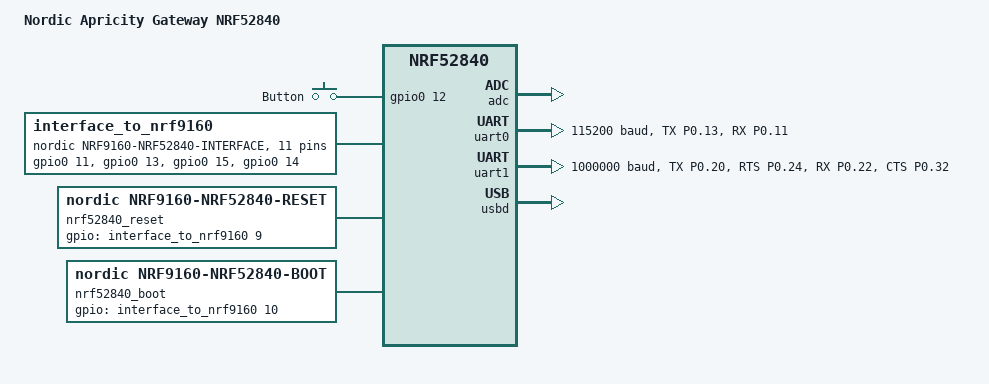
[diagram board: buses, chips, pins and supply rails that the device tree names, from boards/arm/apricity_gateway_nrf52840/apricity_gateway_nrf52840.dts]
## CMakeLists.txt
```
#
# Copyright (c) 2018 Nordic Semiconductor
#
# SPDX-License-Identifier: LicenseRef-BSD-5-Clause-Nordic
#

cmake_minimum_required(VERSION 3.13.1)

#list(APPEND mcuboot_OVERLAY_CONFIG
#  "${CMAKE_CURRENT_SOURCE_DIR}/mcuboot_overlay-rsa.conf"
#  )
#
#set(mcuboot_CONF_FILE ${CMAKE_CURRENT_LIST_DIR}/mcuboot.conf)

##set(mcuboot_DTC_OVERLAY_FILE ${CMAKE_CURRENT_LIST_DIR}/apricity_gateway_nrf52840.overlay)

set(BOARD_ROOT ${CMAKE_CURRENT_LIST_DIR})
find_package(Zephyr REQUIRED HINTS $ENV{ZEPHYR_BASE})
project(lte-gateway-ble)

target_sources(app PRIVATE src/main.c)
target_sources(app PRIVATE src/usb_uart_bridge.c)
zephyr_include_directories(src)
```

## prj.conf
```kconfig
#General
CONFIG_REBOOT=y
CONFIG_HEAP_MEM_POOL_SIZE=16384
CONFIG_GPIO=y
CONFIG_POLL=y
CONFIG_BOOTLOADER_MCUBOOT=y

 # USB
#CONFIG_USB=y
CONFIG_USB_DEVICE_STACK=y
CONFIG_USB_DEVICE_MANUFACTURER="Apricity"
CONFIG_USB_DEVICE_PRODUCT="Apricity Gateway"
CONFIG_USB_DEVICE_VID=0x1915
CONFIG_USB_DEVICE_PID=0x520F
CONFIG_USB_DEVICE_SN="PCA20035 12PLACEHLDRS"
CONFIG_USB_COMPOSITE_DEVICE=y
CONFIG_USB_CDC_ACM=y
CONFIG_USB_CDC_ACM_RINGBUF_SIZE=4096
#CONFIG_USB_CDC_ACM_DEVICE_COUNT=2
CONFIG_USB_CDC_ACM_LOG_LEVEL_INF=y

# Logging
CONFIG_LOG=y
CONFIG_LOG_MODE_IMMEDIATE=n
CONFIG_LOG_BACKEND_FORMAT_TIMESTAMP=n
CONFIG_LOG_DEFAULT_LEVEL=3
CONFIG_LTE_GATEWAY_BLE_LOG_LEVEL_INF=y
CONFIG_USE_SEGGER_RTT=y
CONFIG_SHELL_BACKEND_RTT=n
CONFIG_CONSOLE=y
CONFIG_RTT_CONSOLE=y
CONFIG_LOG_BACKEND_RTT=y
CONFIG_LOG_BACKEND_RTT_MODE_DROP=y
CONFIG_LOG_BACKEND_UART=n
CONFIG_SEGGER_RTT_BUFFER_SIZE_UP=512
CONFIG_LOG_PRINTK=y
#CONFIG_LOG_PRINTK_MAX_STRING_LENGTH=256
CONFIG_LOG_BUFFER_SIZE=4096
#CONFIG_LOG_BACKEND_RTT_MESSAGE_SIZE=256
CONFIG_LOG_BACKEND_RTT_OUTPUT_BUFFER_SIZE=256

 # UART
CONFIG_SERIAL=y
CONFIG_UART_INTERRUPT_DRIVEN=y
CONFIG_UART_LINE_CTRL=y
CONFIG_UART_ASYNC_API=n

#BT
CONFIG_BT=y
CONFIG_BT_WAIT_NOP=y
CONFIG_BT_HCI_RAW=y
CONFIG_BT_HCI_RAW_H4=y
CONFIG_BT_HCI_RAW_H4_ENABLE=y
CONFIG_BT_BUF_ACL_RX_SIZE=255
CONFIG_BT_BUF_CMD_TX_SIZE=255
CONFIG_BT_BUF_EVT_DISCARDABLE_SIZE=255
CONFIG_BT_MAX_CONN=16
CONFIG_BT_TINYCRYPT_ECC=y
CONFIG_BT_CTLR_ASSERT_HANDLER=y
CONFIG_BT_HCI_TX_STACK_SIZE=2048
CONFIG_BT_HCI_TX_STACK_SIZE_WITH_PROMPT=y
CONFIG_BT_EXT_ADV=y
CONFIG_BT_BUF_CMD_TX_COUNT=10

CONFIG_BT_DEBUG_LOG=y
CONFIG_BT_DEBUG_CONN=y
CONFIG_BT_DEBUG_HCI_CORE=y
CONFIG_BT_DEBUG_HCI_DRIVER=y
CONFIG_BT_LOG_LEVEL_DBG=y
CONFIG_BT_HCI_CORE_LOG_LEVEL_DBG=y
CONFIG_BT_HCI_DRIVER_LOG_LEVEL_DBG=y
CONFIG_BT_HCI_VS_EXT=y
CONFIG_BT_HCI_VS=y
CONFIG_BT_REMOTE_VERSION=y

CONFIG_BT_LL_SOFTDEVICE=y
CONFIG_BT_LL_SW_SPLIT=y

#Reset pin
CONFIG_BOARD_APRICITY_GATEWAY_NRF52840_RESET=y
CONFIG_BOOTLOADER_MCUBOOT=y

# TODO: get this to work
#CONFIG_MCUBOOT_SERIAL=y
#CONFIG_BOOT_SERIAL_DETECT_PORT=0
#CONFIG_BOOT_SERIAL_DETECT_PIN=12

CONFIG_GPIO=y
CONFIG_MAIN_STACK_SIZE=3072
CONFIG_SYSTEM_WORKQUEUE_STACK_SIZE=3072

CONFIG_CLOCK_CONTROL_NRF_K32SRC_20PPM=y
```

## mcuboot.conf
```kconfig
# Note: much of this came from:
# bootloader/mcuboot/boot/zephyr/boards/thingy91_nrf52840.conf

# Disable Zephyr console
CONFIG_LOG=n
CONFIG_CONSOLE=n
CONFIG_CONSOLE_HANDLER=n
CONFIG_UART_CONSOLE=n

# The build won't fit on the partition allocated for it without size
# optimizations.
CONFIG_SIZE_OPTIMIZATIONS=y
CONFIG_PM_PARTITION_SIZE_MCUBOOT=0x12000

#Reset pin
CONFIG_BOARD_APRICITY_GATEWAY_NRF52840_RESET=y

# Serial
CONFIG_SERIAL=y
CONFIG_UART_NRFX=y
CONFIG_UART_INTERRUPT_DRIVEN=y
CONFIG_UART_LINE_CTRL=y

# MCUboot serial recovery
CONFIG_GPIO=y
CONFIG_MCUBOOT_SERIAL=y
CONFIG_BOOT_SERIAL_CDC_ACM=y
#CONFIG_BOOT_SERIAL_DETECT_PORT="GPIO_0"
#CONFIG_BOOT_SERIAL_DETECT_PIN=12
#CONFIG_BOOT_SERIAL_DETECT_PIN_VAL=0

# Required by USB
CONFIG_MULTITHREADING=y

# USB
#CONFIG_USB=y
CONFIG_USB_DEVICE_STACK=y
CONFIG_USB_DEVICE_PRODUCT="MCUBOOT"
CONFIG_USB_CDC_ACM=y
CONFIG_USB_COMPOSITE_DEVICE=y
CONFIG_USB_MASS_STORAGE=n
CONFIG_USB_DEVICE_MANUFACTURER="Nordic Semiconductor"
CONFIG_USB_DEVICE_VID=0x1915
CONFIG_USB_DEVICE_PID=0x520F

CONFIG_REBOOT=y
CONFIG_FLASH=y
CONFIG_MAIN_STACK_SIZE=10240
CONFIG_PARTITION_MANAGER_ENABLED=y
CONFIG_FPROTECT=y
CONFIG_HW_STACK_PROTECTION=y
```

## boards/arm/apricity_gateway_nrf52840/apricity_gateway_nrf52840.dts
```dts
/*
 * Copyright (c) 2020 Nordic Semiconductor ASA
 *
 * SPDX-License-Identifier: LicenseRef-BSD-5-Clause-Nordic
 */

/dts-v1/;
#include <nordic/nrf52840_qiaa.dtsi>

/ {
	model = "Nordic Apricity Gateway NRF52840";
	compatible = "apricity,apricity-gateway-nrf52840";

	chosen {
		zephyr,console = &uart0;
		zephyr,flash = &flash0;
		zephyr,sram = &sram0;
		zephyr,uart-mcumgr = &uart0;
		zephyr,bt-mon-uart = &uart0;
		zephyr,shell-uart = &uart0;
		zephyr,bt-c2h-uart = &uart1;
	};

	buttons {
		compatible = "gpio-keys";

		button0: button_0 {
			gpios = <&gpio0 12 0>;
			label = "Button";
		};
	};

	interface_to_nrf9160: gpio-interface {
		compatible = "nordic,nrf9160-nrf52840-interface";
		#gpio-cells = <2>;
		gpio-map-mask = <0xf 0>;
		gpio-map-pass-thru = <0 0xffffffff>;
		gpio-map = <0 0 &gpio0 11 0>,
			  <1 0 &gpio0 13 0>,
			  <2 0 &gpio0 15 0>,
			  <3 0 &gpio0 14 0>,
			  <4 0 &gpio0 20 0>,
			  <5 0 &gpio0 22 0>,
			  <6 0 &gpio1 7 0>, /* COEX0 */
			  <7 0 &gpio1 4 0>, /* COEX1 */
			  <8 0 &gpio1 1 0>, /* COEX2 */
			  <9 0 &gpio1 2 0>,
			  <10 0 &gpio0 12 0>;
	};

	nrf52840_reset: gpio-reset {
		compatible = "nordic,nrf9160-nrf52840-reset";
		status = "okay";
		/*
		* This line is specified as active high for compatibility
		* with the previously used Kconfig-based configuration.
		*/
		gpios = <&interface_to_nrf9160 9 GPIO_ACTIVE_HIGH>;
	};

	nrf52840_boot: gpio-boot {
		compatible = "nordic,nrf9160-nrf52840-boot";
		status = "okay";
		gpios = <&interface_to_nrf9160 10 GPIO_PULL_UP>;
	};

	aliases {
		mcuboot-button0 = &button0;
	};
};

&adc {
	status = "okay";
};

&gpiote {
	status = "okay";
};

&gpio0 {
	status = "okay";
};

&gpio1 {
	status = "okay";
};

&pinctrl {
	uart0_default_alt: uart0_default_alt {
		group1 {
			psels = <NRF_PSEL(UART_TX, 0, 13)>,
				<NRF_PSEL(UART_RX, 0, 11)>;
		};
	};

	uart0_sleep_alt: uart0_sleep_alt {
		group1 {
			psels = <NRF_PSEL(UART_TX, 0, 13)>,
				<NRF_PSEL(UART_RX, 0, 11)>;
			low-power-enable;
		};
	};

	uart1_default_alt: uart1_default_alt {
		group1 {
			psels = <NRF_PSEL(UART_TX, 0, 20)>,
				<NRF_PSEL(UART_RTS, 0, 24)>;
		};
		group2 {
			psels = <NRF_PSEL(UART_RX, 0, 22)>,
				<NRF_PSEL(UART_CTS, 0, 32)>;
			bias-pull-up;
		};
	};

	uart1_sleep_alt: uart1_sleep_alt {
		group1 {
			psels = <NRF_PSEL(UART_TX, 0, 20)>,
				<NRF_PSEL(UART_RTS, 0, 24)>;
			low-power-enable;
		};
		group2 {
			psels = <NRF_PSEL(UART_RX, 0, 22)>,
				<NRF_PSEL(UART_CTS, 0, 32)>;
			bias-pull-up;
			low-power-enable;
		};
	};

};

&uart0 {
	compatible = "nordic,nrf-uarte";
	current-speed = <115200>;
	status = "okay";
	pinctrl-0 = <&uart0_default_alt>;
	pinctrl-1 = <&uart0_sleep_alt>;
	pinctrl-names = "default", "sleep";
};

&uart1 {
	compatible = "nordic,nrf-uarte";
	current-speed = <1000000>;
	status = "okay";
	pinctrl-0 = <&uart1_default_alt>;
	pinctrl-1 = <&uart1_sleep_alt>;
	pinctrl-names = "default", "sleep";
	hw-flow-control;
};

zephyr_udc0: &usbd {
	compatible = "nordic,nrf-usbd";
	status = "okay";

	cdc_acm_uart: cdc_acm_uart {
		compatible = "zephyr,cdc-acm-uart";
	};
};

&flash0 {
	partitions {
		compatible = "fixed-partitions";
		#address-cells = <1>;
		#size-cells = <1>;

		/* The size of this partition ensures that MCUBoot can be built
		 * with an RTT console, CDC ACM support, and w/o optimizations.
		 */
		boot_partition: partition@0 {
			label = "mcuboot";
			reg = <0x000000000 0x00012000>;
		};
		slot0_partition: partition@12000 {
			label = "image-0";
			reg = <0x00012000 0x000069000>;
		};
		slot1_partition: partition@7b000 {
			label = "image-1";
			reg = <0x0007b000 0x000069000>;
		};
		scratch_partition: partition@e4000 {
			label = "image-scratch";
			reg = <0x000e4000 0x00018000>;
		};
		storage_partition: partition@fc000 {
			label = "storage";
			reg = <0x000fc000 0x00004000>;
		};
	};
};
```

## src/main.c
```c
/*
 * Copyright (c) 2016-2021 Nordic Semiconductor ASA
 * Copyright (c) 2015-2016 Intel Corporation
 *
 * SPDX-License-Identifier: Apache-2.0
 */
#include <errno.h>
#include <stddef.h>
#include <stdio.h>
#include <string.h>

#include <zephyr/kernel.h>
#include <zephyr/arch/cpu.h>
#include <zephyr/sys/byteorder.h>
#include <zephyr/logging/log.h>
#include <zephyr/sys/util.h>

#include <zephyr/device.h>
#include <zephyr/init.h>
#include <zephyr/drivers/uart.h>

#include <zephyr/net/buf.h>
#include <zephyr/bluetooth/bluetooth.h>
#include <zephyr/bluetooth/l2cap.h>
#include <zephyr/bluetooth/hci.h>
#include <zephyr/bluetooth/buf.h>
#include <zephyr/bluetooth/hci_raw.h>

#include <nrfx.h>
#include <hal/nrf_power.h>
#include <zephyr/sys/reboot.h>
#include <zephyr/usb/usb_device.h>
#include <zephyr/drivers/gpio.h>

#include "usb_uart_bridge.h"

LOG_MODULE_REGISTER(lte_gateway_ble, CONFIG_LTE_GATEWAY_BLE_LOG_LEVEL);

static const struct device *const hci_uart_dev =
	DEVICE_DT_GET(DT_CHOSEN(zephyr_bt_c2h_uart));
static K_THREAD_STACK_DEFINE(tx_thread_stack, CONFIG_BT_HCI_TX_STACK_SIZE);
static struct k_thread tx_thread_data;
static K_FIFO_DEFINE(tx_queue);

/* RX in terms of bluetooth communication */
static K_FIFO_DEFINE(uart_tx_queue);

/* build for < rev3 hardware -- the BLE LED control used to be managed by
 * the 52840, but in newer boards is controlled by the 9160
 */
/* #define OLD_BOARD */

#if 0
/* HCI command buffers */
NET_BUF_POOL_FIXED_DEFINE(acl_tx_pool, TX_BUF_COUNT, BT_BUF_ACL_SIZE, NULL);
NET_BUF_POOL_FIXED_DEFINE(cmd_tx_pool, CONFIG_BT_HCI_CMD_COUNT, CMD_BUF_SIZE,
			  NULL);

/* #define DEBUG_UART_PINS */
#if defined(DEBUG_UART_PINS)
#define UART0 DT_NODELABEL(uart0)
#define UART0_TX DT_PROP(UART0, tx_pin)
#define UART0_RX DT_PROP(UART0, rx_pin)
#define UART0_RTS DT_PROP(UART0, rts_pin)
#define UART0_CTS DT_PROP(UART0, cts_pin)
#define UART0_SPEED DT_PROP(UART0, current_speed)
#define UART1 DT_NODELABEL(uart1)
#define UART1_TX DT_PROP(UART1, tx_pin)
#define UART1_RX DT_PROP(UART1, rx_pin)
#define UART1_RTS DT_PROP(UART1, rts_pin)
#define UART1_CTS DT_PROP(UART1, cts_pin)
#define UART1_SPEED DT_PROP(UART1, current_speed)
#endif

#if defined(CONFIG_BT_CTLR_TX_BUFFER_SIZE)
#define BT_L2CAP_MTU (CONFIG_BT_CTLR_TX_BUFFER_SIZE - BT_L2CAP_HDR_SIZE)
#else
#define BT_L2CAP_MTU 65 /* 64-byte public key + opcode */
#endif /* CONFIG_BT_CTLR */

/** Data size needed for ACL buffers */
#define BT_BUF_ACL_SIZE BT_L2CAP_BUF_SIZE(BT_L2CAP_MTU)

#if defined(CONFIG_BT_CTLR_TX_BUFFERS)
#define TX_BUF_COUNT CONFIG_BT_CTLR_TX_BUFFERS
#else
#define TX_BUF_COUNT 6
#endif
#define CMD_BUF_SIZE BT_BUF_RX_SIZE
#endif

#define H4_CMD 0x01
#define H4_ACL 0x02
#define H4_SCO 0x03
#define H4_EVT 0x04
#define H4_ISO 0x05

/* Receiver states. */
#define ST_IDLE 0	/* Waiting for packet type. */
#define ST_HDR 1	/* Receiving packet header. */
#define ST_PAYLOAD 2	/* Receiving packet payload. */
#define ST_DISCARD 3	/* Dropping packet. */

/* Length of a discard/flush buffer.
 * This is sized to align with a BLE HCI packet:
 * 1 byte H:4 header + 32 bytes ACL/event data
 * Bigger values might overflow the stack since this is declared as a local
 * variable, smaller ones will force the caller to call into discard more
 * often.
 */
#define H4_DISCARD_LEN 33

#define H4_SEND_TIMEOUT 5000

static int h4_read(const struct device *uart, uint8_t *buf, size_t len)
{
	int rx = uart_fifo_read(uart, buf, len);

	LOG_DBG("read %d req %d", rx, len);

	return rx;
}

static bool valid_type(uint8_t type)
{
	return (type == H4_CMD) | (type == H4_ACL) | (type == H4_ISO);
}

/* Function expects that type is validated and only CMD, ISO or ACL will be used. */
static uint32_t get_len(const uint8_t *hdr_buf, uint8_t type)
{
	switch (type) {
	case H4_CMD:
		return ((const struct bt_hci_cmd_hdr *)hdr_buf)->param_len;
	case H4_ISO:
		return bt_iso_hdr_len(
			sys_le16_to_cpu(((const struct bt_hci_iso_hdr *)hdr_buf)->len));
	case H4_ACL:
		return sys_le16_to_cpu(((const struct bt_hci_acl_hdr *)hdr_buf)->len);
	default:
		LOG_ERR("Invalid type: %u", type);
		return 0;
	}
}

/* Function expects that type is validated and only CMD, ISO or ACL will be used. */
static int hdr_len(uint8_t type)
{
	switch (type) {
	case H4_CMD:
		return sizeof(struct bt_hci_cmd_hdr);
	case H4_ISO:
		return sizeof(struct bt_hci_iso_hdr);
	case H4_ACL:
		return sizeof(struct bt_hci_acl_hdr);
	default:
		LOG_ERR("Invalid type: %u", type);
		return 0;
	}
}

static void rx_isr(void)
{
	static struct net_buf *buf;
	static int remaining;
	static uint8_t state;
	static uint8_t type;
	static uint8_t hdr_buf[MAX(sizeof(struct bt_hci_cmd_hdr),
			sizeof(struct bt_hci_acl_hdr))];
	int read;

	do {
		switch (state) {
		case ST_IDLE:
			/* Get packet type */
			read = h4_read(hci_uart_dev, &type, sizeof(type));
			/* since we read in loop until no data is in the fifo,
			 * it is possible that read = 0.
			 */
			if (read) {
				if (valid_type(type)) {
					/* Get expected header size and switch
					 * to receiving header.
					 */
					remaining = hdr_len(type);
					state = ST_HDR;
				} else {
					LOG_WRN("Unknown header %d", type);
				}
			}
			break;
		case ST_HDR:
			read = h4_read(hci_uart_dev,
				       &hdr_buf[hdr_len(type) - remaining],
				       remaining);
			remaining -= read;
			if (remaining == 0) {
				/* Header received. Allocate buffer and get
				 * payload length. If allocation fails leave
				 * interrupt. On failed allocation state machine
				 * is reset.
				 */
				buf = bt_buf_get_tx(BT_BUF_H4, K_NO_WAIT,
						    &type, sizeof(type));
				if (!buf) {
					LOG_ERR("No available command buffers!");
					state = ST_IDLE;
					return;
				}

				remaining = get_len(hdr_buf, type);

				net_buf_add_mem(buf, hdr_buf, hdr_len(type));
				if (remaining > net_buf_tailroom(buf)) {
					LOG_ERR("Not enough space in buffer");
					net_buf_unref(buf);
					state = ST_DISCARD;
				} else {
					state = ST_PAYLOAD;
				}

			}
			break;
		case ST_PAYLOAD:
			read = h4_read(hci_uart_dev, net_buf_tail(buf),
				       remaining);
			buf->len += read;
			remaining -= read;
			if (remaining == 0) {
				/* Packet received */
				LOG_DBG("putting RX packet in queue.");
				net_buf_put(&tx_queue, buf);
				state = ST_IDLE;
			}
			break;
		case ST_DISCARD:
		{
			uint8_t discard[H4_DISCARD_LEN];
			size_t to_read = MIN(remaining, sizeof(discard));

			read = h4_read(hci_uart_dev, discard, to_read);
			remaining -= read;
			if (remaining == 0) {
				state = ST_IDLE;
			}

			break;

		}
		default:
			read = 0;
			__ASSERT_NO_MSG(0);
			break;

		}
	} while (read);
}

static void tx_isr(void)
{
	static struct net_buf *buf;
	int len;

	if (!buf) {
		buf = net_buf_get(&uart_tx_queue, K_NO_WAIT);
		if (!buf) {
			uart_irq_tx_disable(hci_uart_dev);
			return;
		}
	}

	len = uart_fifo_fill(hci_uart_dev, buf->data, buf->len);
	net_buf_pull(buf, len);
	if (!buf->len) {
		net_buf_unref(buf);
		buf = NULL;
	}
}

static void bt_uart_isr(const struct device *unused, void *user_data)
{
	ARG_UNUSED(unused);
	ARG_UNUSED(user_data);

	if (!(uart_irq_rx_ready(hci_uart_dev) ||
	      uart_irq_tx_ready(hci_uart_dev))) {
		LOG_DBG("spurious interrupt");
	}

	if (uart_irq_tx_ready(hci_uart_dev)) {
		tx_isr();
	}

	if (uart_irq_rx_ready(hci_uart_dev)) {
		rx_isr();
	}
}

static void tx_thread(void *p1, void *p2, void *p3)
{
	while (1) {
		struct net_buf *buf;
		int err;

		/* Wait until a buffer is available */
		buf = net_buf_get(&tx_queue, K_FOREVER);
		/* Pass buffer to the stack */
		LOG_HEXDUMP_DBG(buf->data, buf->len, "tx_thread");
		LOG_DBG("net_buf_get() returned len %d", buf->len);
		err = bt_send(buf);
		if (err) {
			LOG_ERR("Unable to send (err %d)", err);
			net_buf_unref(buf);
		}

		/* Give other threads a chance to run if tx_queue keeps getting
		 * new data all the time.
		 */
		k_yield();
	}
}

static int h4_send(struct net_buf *buf)
{
	LOG_DBG("buf %p type %u len %u", buf, bt_buf_get_type(buf),
		    buf->len);

	net_buf_put(&uart_tx_queue, buf);
	uart_irq_tx_enable(hci_uart_dev);

	return 0;
}

#if defined(CONFIG_BT_CTLR_ASSERT_HANDLER)
void bt_ctlr_assert_handle(char *file, uint32_t line)
{
	uint32_t len = 0U, pos = 0U;

	/* Disable interrupts, this is unrecoverable */
	(void)irq_lock();

	uart_irq_rx_disable(hci_uart_dev);
	uart_irq_tx_disable(hci_uart_dev);

	if (file) {
		while (file[len] != '\0') {
			if (file[len] == '/') {
				pos = len + 1;
			}
			len++;
		}
		file += pos;
		len -= pos;
	}

	uart_poll_out(hci_uart_dev, H4_EVT);
	/* Vendor-Specific debug event */
	uart_poll_out(hci_uart_dev, 0xff);
	/* 0xAA + strlen + \0 + 32-bit line number */
	uart_poll_out(hci_uart_dev, 1 + len + 1 + 4);
	uart_poll_out(hci_uart_dev, 0xAA);

	if (len) {
		while (*file != '\0') {
			uart_poll_out(hci_uart_dev, *file);
			file++;
		}
		uart_poll_out(hci_uart_dev, 0x00);
	}

	uart_poll_out(hci_uart_dev, line >> 0 & 0xff);
	uart_poll_out(hci_uart_dev, line >> 8 & 0xff);
	uart_poll_out(hci_uart_dev, line >> 16 & 0xff);
	uart_poll_out(hci_uart_dev, line >> 24 & 0xff);

	while (1) {
	}
}
#endif /* CONFIG_BT_CTLR_ASSERT_HANDLER */

static int hci_uart_init(void)
{
	LOG_DBG("init hci uart");

	if (!device_is_ready(hci_uart_dev)) {
		LOG_ERR("HCI UART %s is not ready", hci_uart_dev->name);
		return -EINVAL;
	}

	uart_irq_rx_disable(hci_uart_dev);
	uart_irq_tx_disable(hci_uart_dev);

	uart_irq_callback_set(hci_uart_dev, bt_uart_isr);

	uart_irq_rx_enable(hci_uart_dev);

	return 0;
}

SYS_INIT(hci_uart_init, APPLICATION, CONFIG_KERNEL_INIT_PRIORITY_DEVICE);

#if defined(OLD_BOARD)
void set_leds(bool red, bool green, bool blue)
{
	const struct device *port;
	int red_pin = 26;
	int green_pin = 4;
	int blue_pin = 6;
	int err;

	port = device_get_binding(DT_LABEL(DT_NODELABEL(gpio0)));
	if (!port) {
		LOG_INF("GPIO0 device not found!");
	} else {
		err = gpio_pin_configure(port, red_pin,
			red ? GPIO_OUTPUT_LOW : GPIO_OUTPUT_HIGH);
		if (err) {
			LOG_INF("Pin %d error %d", red_pin, err);
		}
		err = gpio_pin_configure(port, green_pin,
			green ? GPIO_OUTPUT_LOW : GPIO_OUTPUT_HIGH);
		if (err) {
			LOG_INF("Pin %d error %d", green_pin, err);
		}
		err = gpio_pin_configure(port, blue_pin,
			blue ? GPIO_OUTPUT_LOW : GPIO_OUTPUT_HIGH);
		if (err) {
			LOG_INF("Pin %d error %d", blue_pin, err);
		}
	}
}
#endif

void output_string(int id, char *str)
{
	struct serial_dev *sd = &devs[id];
	struct uart_data *rx = k_malloc(sizeof(struct uart_data));

	if (rx) {
		memset(rx, 0, sizeof(rx));
		rx->len = strlen(str);
		strcpy(rx->buffer, str);
		k_fifo_put(sd->fifo, rx);
		k_sem_give(&sd->sem);
	}
}

#define DBG(x) output_string(0, x)

static void log_uart_pins(void)
{
#if defined(DEBUG_UART_PINS)
	struct uart_config config;
	struct device *uart_0_dev = device_get_binding("UART_0");
	struct device *uart_1_dev = device_get_binding("UART_1");

	LOG_INF("UART0 tx:%d, rx:%d, rts:%d, cts:%d, speed:%d",
		UART0_TX, UART0_RX, UART0_RTS, UART0_CTS, UART0_SPEED);
	LOG_INF("UART1 tx:%d, rx:%d, rts:%d, cts:%d, speed:%d",
		UART1_TX, UART1_RX, UART1_RTS, UART1_CTS, UART1_SPEED);
	k_sleep(K_MSEC(50));

	uart_config_get(uart_0_dev, &config);
	LOG_INF("UART0 speed:%u, flow:%d", config.baudrate,
		config.flow_ctrl);
	k_sleep(K_MSEC(50));

	uart_config_get(uart_1_dev, &config);
	LOG_INF("UART1 speed:%u, flow:%d", config.baudrate,
		config.flow_ctrl);

	LOG_INF("Reset pin:%d",
		CONFIG_BOARD_APRICITY_GATEWAY_NRF52840_RESET_PIN);
#endif
}

extern bool ignore_reset;
void main(void)
{
	ignore_reset = false;

	/* incoming events and data from the controller */
	static K_FIFO_DEFINE(rx_queue);
	int err;
	int ret;
	struct serial_dev *usb_0_sd = &devs[0];
	struct serial_dev *uart_0_sd = &devs[1];
	const struct device *usb_0_dev;
	const struct device *uart_0_dev;

#if defined(OLD_BOARD)
	set_leds(true, false, false);
#endif
	__ASSERT(hci_uart_dev, "UART device is NULL");

	/* Enable the raw interface, this will in turn open the HCI driver */
	bt_enable_raw(&rx_queue);
#if defined(OLD_BOARD)
	set_leds(false, true, false);
#endif
	LOG_INF("LTE Gateway BLE started");
	log_uart_pins();

	if (IS_ENABLED(CONFIG_BT_WAIT_NOP)) {
		/* Issue a Command Complete with NOP */
		int i;

		const struct {
			const uint8_t h4;
			const struct bt_hci_evt_hdr hdr;
			const struct bt_hci_evt_cmd_complete cc;
		} __packed cc_evt = {
			.h4 = H4_EVT,
			.hdr = {
				.evt = BT_HCI_EVT_CMD_COMPLETE,
				.len = sizeof(struct bt_hci_evt_cmd_complete),
			},
			.cc = {
				.ncmd = 1,
				.opcode = sys_cpu_to_le16(BT_OP_NOP),
			},
		};

		LOG_INF("Sending HCI Cmd Complete w/ NOP");
		for (i = 0; i < sizeof(cc_evt); i++) {
			uart_poll_out(hci_uart_dev,
				      *(((const uint8_t *)&cc_evt)+i));
		}
	}

	/* Spawn the TX thread and start feeding commands and data to the
	 * controller
	 */
	k_thread_create(&tx_thread_data, tx_thread_stack,
			K_THREAD_STACK_SIZEOF(tx_thread_stack), tx_thread,
			NULL, NULL, NULL, K_PRIO_COOP(7), 0, K_NO_WAIT);
	k_thread_name_set(&tx_thread_data, "HCI uart TX");

	usb_0_dev = device_get_binding("CDC_ACM_0");
	if (!usb_0_dev) {
		LOG_INF("CDC ACM device not found");
		return;
	}

	uart_0_dev = device_get_binding("UART_0");
	if (!uart_0_dev) {
		LOG_INF("UART 0 init failed");
	}

	usb_0_sd->num = -1;
	usb_0_sd->dev = usb_0_dev;
	usb_0_sd->fifo = &usb_0_tx_fifo;
	usb_0_sd->peer = uart_0_sd;

	uart_0_sd->num = 0;
	uart_0_sd->dev = uart_0_dev;
	uart_0_sd->fifo = &uart_0_tx_fifo;
	uart_0_sd->peer = usb_0_sd;

	k_sem_init(&usb_0_sd->sem, 0, 1);
	k_sem_init(&uart_0_sd->sem, 0, 1);

	uart_bridge_init(usb_0_sd, uart_0_sd);

	uart_irq_callback_user_data_set(usb_0_dev, uart_interrupt_handler, usb_0_sd);
	uart_irq_callback_user_data_set(uart_0_dev, uart_interrupt_handler, uart_0_sd);

	ret = usb_enable(NULL);
	if (ret != 0) {
		LOG_ERR("Failed to enable USB");
		return;
	}

	uart_irq_rx_enable(usb_0_dev);
	uart_irq_rx_enable(uart_0_dev);

	struct k_poll_event events[2] = {
		K_POLL_EVENT_STATIC_INITIALIZER(K_POLL_TYPE_SEM_AVAILABLE,
						K_POLL_MODE_NOTIFY_ONLY,
						&usb_0_sd->sem, 0),
		K_POLL_EVENT_STATIC_INITIALIZER(K_POLL_TYPE_SEM_AVAILABLE,
						K_POLL_MODE_NOTIFY_ONLY,
						&uart_0_sd->sem, 0),
	};

	LOG_INF("Entering loop");
#if defined(OLD_BOARD)
	set_leds(false, false, true);
#endif

	while (1) {
		struct net_buf *buf;

		buf = net_buf_get(&rx_queue, K_NO_WAIT);
		if (buf) {
			err = h4_send(buf);
			if (err) {
				LOG_ERR("Failed to send");
#if defined(OLD_BOARD)
				set_leds(true, false, false);
#endif
			} else {
#if defined(OLD_BOARD)
				set_leds(false, true, false);
#endif
			}
		}
		ret = k_poll(events, ARRAY_SIZE(events), K_NO_WAIT);
		if (ret != 0) {
			k_sleep(K_MSEC(1));
#if defined(OLD_BOARD)
			set_leds(false, false, true);
#endif
			continue;
		}

		if (events[0].state == K_POLL_TYPE_SEM_AVAILABLE) {
			events[0].state = K_POLL_STATE_NOT_READY;
			k_sem_take(&usb_0_sd->sem, K_NO_WAIT);
#if defined(OLD_BOARD)
			set_leds(false, true, true);
#endif
			LOG_DBG("en usb0 tx");
			uart_irq_tx_enable(usb_0_dev);
		} else if (events[1].state == K_POLL_TYPE_SEM_AVAILABLE) {
			events[1].state = K_POLL_STATE_NOT_READY;
			k_sem_take(&uart_0_sd->sem, K_NO_WAIT);
#if defined(OLD_BOARD)
			set_leds(true, false, true);
#endif
			LOG_DBG("en uart0 tx");
			uart_irq_tx_enable(uart_0_dev);
		}
	}
}
```

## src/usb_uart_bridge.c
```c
/*
 * Copyright (c) 2019 Nordic Semiconductor ASA
 *
 * SPDX-License-Identifier: LicenseRef-BSD-5-Clause-Nordic
 */

#include <zephyr/kernel.h>
#include <zephyr/device.h>
#include <zephyr/drivers/uart.h>
#include <nrfx.h>
#include <string.h>
#include <stdio.h>
#include <hal/nrf_power.h>
#include <zephyr/sys/reboot.h>
#include <zephyr/usb/usb_device.h>
#include <zephyr/logging/log.h>
#include <zephyr/logging/log_ctrl.h>

#include "usb_uart_bridge.h"

#define UART_IRQ_TX_EMPTY_LOOP_COUNT 1000000
/* #define LOG_CONTENTS */

LOG_MODULE_REGISTER(usb_uart_bridge, CONFIG_LTE_GATEWAY_BLE_LOG_LEVEL);

void uart_interrupt_handler(const struct device *dev, void *user_data)
{
	struct serial_dev *sd = user_data;
	struct serial_dev *peer_sd = (struct serial_dev *)sd->peer;
	struct uart_data *rx;
#if defined(LOG_CONTENTS)
	static char rxlabel[32];
	static char txlabel[32];
#endif

	while (uart_irq_update(dev) && uart_irq_is_pending(dev)) {
		LOG_DBG("dev %p peer %p", dev, sd);
		if (uart_irq_rx_ready(dev)) {
			int data_length;

			while (!sd->rx) {
				sd->rx = k_malloc(sizeof(*sd->rx));
				if (sd->rx) {
					sd->rx->len = 0;
				} else {
					int err = oom_free(sd);

					if (err) {
						LOG_ERR("Could not free memory."
							" Rebooting.");
						sys_reboot(SYS_REBOOT_COLD);
					}
				}
			}

			data_length = uart_fifo_read(dev, &sd->rx->buffer[sd->rx->len],
						   UART_BUF_SIZE - sd->rx->len);
			sd->rx->len += data_length;

			if (sd->rx->len > 0) {
				if ((sd->rx->len == UART_BUF_SIZE) ||
				   (sd->rx->buffer[sd->rx->len - 1] == '\n') ||
				   (sd->rx->buffer[sd->rx->len - 1] == '\r') ||
				   (sd->rx->buffer[sd->rx->len - 1] == '\0')) {
#if defined(LOG_CONTENTS)
					sprintf(rxlabel, "uart_fifo_rx %d", sd->num);
					LOG_HEXDUMP_DBG(sd->rx->buffer,
						sd->rx->len, rxlabel);
#else
					LOG_DBG("rx%d-%d RCVD", sd->num, sd->rx->len);
#endif
					k_timer_stop(&sd->timer);
					rx = sd->rx;
					sd->rx = NULL;
					k_fifo_put(peer_sd->fifo, rx);
					k_sem_give(&peer_sd->sem);
				} else if (!k_timer_remaining_ticks(&sd->timer)) {
					k_timer_user_data_set(&sd->timer, user_data);
					k_timer_start(&sd->timer, K_MSEC(50),
						      K_NO_WAIT);
				}
			}
		}

		if (uart_irq_tx_ready(dev)) {
			struct uart_data *buf = k_fifo_get(sd->fifo, K_NO_WAIT);
			uint16_t written = 0;

			/* Nothing in the FIFO, nothing to send */
			if (!buf) {
				uart_irq_tx_disable(dev);
				return;
			}

#if defined(LOG_CONTENTS)
			if (buf->len) {
				sprintf(txlabel, "uart_fifo_tx %d", sd->num);
				LOG_HEXDUMP_DBG(buf->buffer, buf->len,
					txlabel);
			}
#else
			if (buf->len) {
				LOG_DBG("tx%d-%d SENT", sd->num, buf->len);
			}
#endif

			while (buf->len > written) {
				if (uart_irq_tx_ready(dev)) {
					written += uart_fifo_fill(dev,
								  &buf->buffer[written],
								  buf->len - written);
				}
			}

			int i = 0;

			while (!uart_irq_tx_complete(dev)) {
				/* Wait for the last byte to get
				 * shifted out of the module
				 */
				if (i++ > UART_IRQ_TX_EMPTY_LOOP_COUNT) {
					LOG_ERR("timeout on tx complete");
					break;
				}
			}

			if (k_fifo_is_empty(sd->fifo)) {
				uart_irq_tx_disable(dev);
			}

			k_free(buf);
		}
	}
}

/* Overriding weak function to set iSerial runtime. */
uint8_t *usb_update_sn_string_descriptor(void)
{
	static uint8_t buf[] = "NRFBLEGW_12PLACEHLDRS";

	snprintk(&buf[9], 13, "%04X%08X",
		(uint32_t)(NRF_FICR->DEVICEADDR[1] & 0x0000FFFF)|0x0000C000,
		(uint32_t)NRF_FICR->DEVICEADDR[0]);

	return (uint8_t *)&buf;
}

/* Frees data for incoming transmission on device blocked by full heap. */
static int oom_free(struct serial_dev *sd)
{
	struct serial_dev *peer_sd = (struct serial_dev *)sd->peer;
	struct uart_data *buf;

	/* First, try to free from FIFO of peer device (blocked stream) */
	buf = k_fifo_get(peer_sd->fifo, K_NO_WAIT);
	if (buf) {
		k_free(buf);
		return 0;
	}

	/* Then, try FIFO of the receiving device (reverse of blocked stream) */
	buf = k_fifo_get(sd->fifo, K_NO_WAIT);
	if (buf) {
		k_free(buf);
		return 0;
	}

	/* Finally, try all of them */
	for (int i = 0; i < ARRAY_SIZE(devs); i++) {
		buf = k_fifo_get(sd->fifo, K_NO_WAIT);
		if (buf) {
			k_free(buf);
			return 0;
		}
	}

	return -1; /* Was not able to free any heap memory */
}

void uart_timer_handler(struct k_timer *timer_id)
{
	void *user_data = k_timer_user_data_get(timer_id);
	struct serial_dev *sd = user_data;
	struct serial_dev *peer_sd = (struct serial_dev *)sd->peer;
	struct uart_data *rx;

	rx = sd->rx;
	sd->rx = NULL;
	if (rx) {
		k_fifo_put(peer_sd->fifo, rx);
		k_sem_give(&peer_sd->sem);
	} else  {
		LOG_DBG("timer ignored");
	}
}

void uart_bridge_init(struct serial_dev *sd0, struct serial_dev *sd1)
{
	k_timer_init(&sd0->timer, uart_timer_handler, NULL);
	k_timer_init(&sd1->timer, uart_timer_handler, NULL);
}

void power_thread(void)
{
	while (1) {
		if (!nrf_power_usbregstatus_vbusdet_get(NRF_POWER)) {
			nrf_power_system_off(NRF_POWER);
		}
		k_sleep(K_MSEC(100));
	}
}

K_THREAD_DEFINE(power_thread_id, POWER_THREAD_STACKSIZE, power_thread,
		NULL, NULL, NULL, POWER_THREAD_PRIORITY, 0, 0);
```
